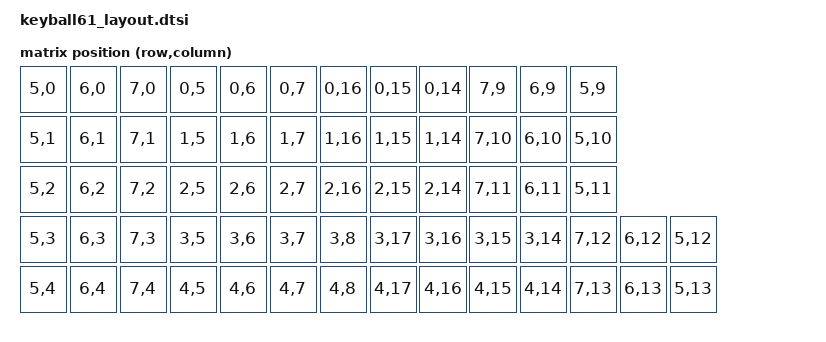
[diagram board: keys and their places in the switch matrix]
/*
 * Общая часть для ВСЕХ частей клавиатуры (донгл, левая и правая половины):
 * матрица клавиш. Узлы трекбола вынесены в keyball61_trackball_split.dtsi.
 */

#include <dt-bindings/zmk/matrix_transform.h>

/ {
    chosen {
        zmk,matrix-transform = &default_transform;
    };

    default_transform: keymap_transform_0 {
        compatible = "zmk,matrix-transform";
        columns = <18>;   /* 9 для левой половины + 9 для правой */
        rows = <9>;
        map = <
            RC(5,0) RC(6,0) RC(7,0) RC(0,5) RC(0,6) RC(0,7) RC(0,16) RC(0,15) RC(0,14) RC(7,9) RC(6,9) RC(5,9)
            RC(5,1) RC(6,1) RC(7,1) RC(1,5) RC(1,6) RC(1,7) RC(1,16) RC(1,15) RC(1,14) RC(7,10) RC(6,10) RC(5,10)
            RC(5,2) RC(6,2) RC(7,2) RC(2,5) RC(2,6) RC(2,7) RC(2,16) RC(2,15) RC(2,14) RC(7,11) RC(6,11) RC(5,11)
            RC(5,3) RC(6,3) RC(7,3) RC(3,5) RC(3,6) RC(3,7) RC(3,8) RC(3,17) RC(3,16) RC(3,15) RC(3,14) RC(7,12) RC(6,12) RC(5,12)
            RC(5,4) RC(6,4) RC(7,4) RC(4,5) RC(4,6) RC(4,7) RC(4,8) RC(4,17) RC(4,16) RC(4,15) RC(4,14) RC(7,13) RC(6,13) RC(5,13)
        >;
    };
};
